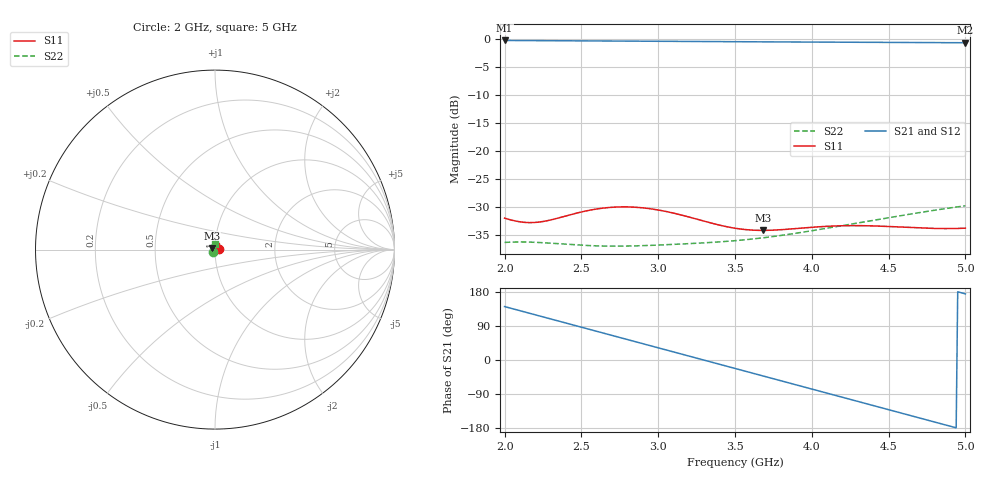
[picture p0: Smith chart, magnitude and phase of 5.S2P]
#  MHZ S MA R 50.0
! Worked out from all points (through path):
!   301 points, 2 GHz to 5 GHz, reference 50 ohm
!   highest |S21| = -0.34 dB at 2 GHz (marker M1); lowest = -0.7 dB at 5 GHz (marker M2)
!   group delay of S21, straight-line fit = 302 ps
!   lowest |S11| = -34.1 dB at 3.68 GHz (marker M3), VSWR 1.04, Z = 48.2 + j0.681 ohm
!   |S11| at or under -10 dB: start of sweep to end of sweep
!   |S22| runs from -36.9 to -29.7 dB; largest |S21 - S12| = 0
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2000  0.02535 9.0  0.9612 141.0  0.9612 141.0  0.01543 -123.5
2130  0.02325 -16.4  0.9589 126.8  0.9589 126.8  0.01557 -140.9
2260  0.0238 -42.5  0.9567 112.7  0.9567 112.7  0.01531 -158.1
2380  0.02607 -62.8  0.9547 99.6  0.9547 99.6  0.01494 -173.6
2500  0.02876 -78.7  0.9527 86.5  0.9527 86.5  0.01458 171.1
2620  0.03087 -91.2  0.9507 73.5  0.9507 73.5  0.01435 155.6
2740  0.03187 -101.9  0.9488 60.4  0.9488 60.4  0.01429 139.3
3000  0.02995 -123.2  0.9446 32.1  0.9446 32.1  0.01461 99.2
3130  0.02747 -134.6  0.9426 17.9  0.9426 17.9  0.01488 76.3
3250  0.02487 -146.6  0.9407 4.9  0.9407 4.9  0.01517 53.6
3370  0.02247 -160.3  0.9388 -8.2  0.9388 -8.2  0.0155 29.6
3500  0.02062 -177.0  0.9369 -22.3  0.9369 -22.3  0.01598 2.8
3680  0.01973 159.0  0.9342 -41.9  0.9342 -41.9  0.01694 -34.9
3840  0.02019 140.3  0.9319 -59.3  0.9319 -59.3  0.01812 -68.0
4000  0.02103 125.4  0.9296 -76.7  0.9296 -76.7  0.01959 -99.8
4120  0.02152 116.5  0.928 -89.8  0.928 -89.8  0.02086 -122.6
4240  0.02174 108.8  0.9264 -102.8  0.9264 -102.8  0.02226 -144.4
4370  0.02168 101.6  0.9247 -117.0  0.9247 -117.0  0.02387 -167.0
4500  0.02137 94.8  0.9231 -131.1  0.9231 -131.1  0.0256 171.3
4760  0.0206 81.4  0.92 -159.4  0.92 -159.4  0.02925 129.7
4880  0.02047 74.9  0.9187 -172.4  0.9187 -172.4  0.03097 111.1
5000  0.02064 68.2  0.9174 174.5  0.9174 174.5  0.03264 92.6
